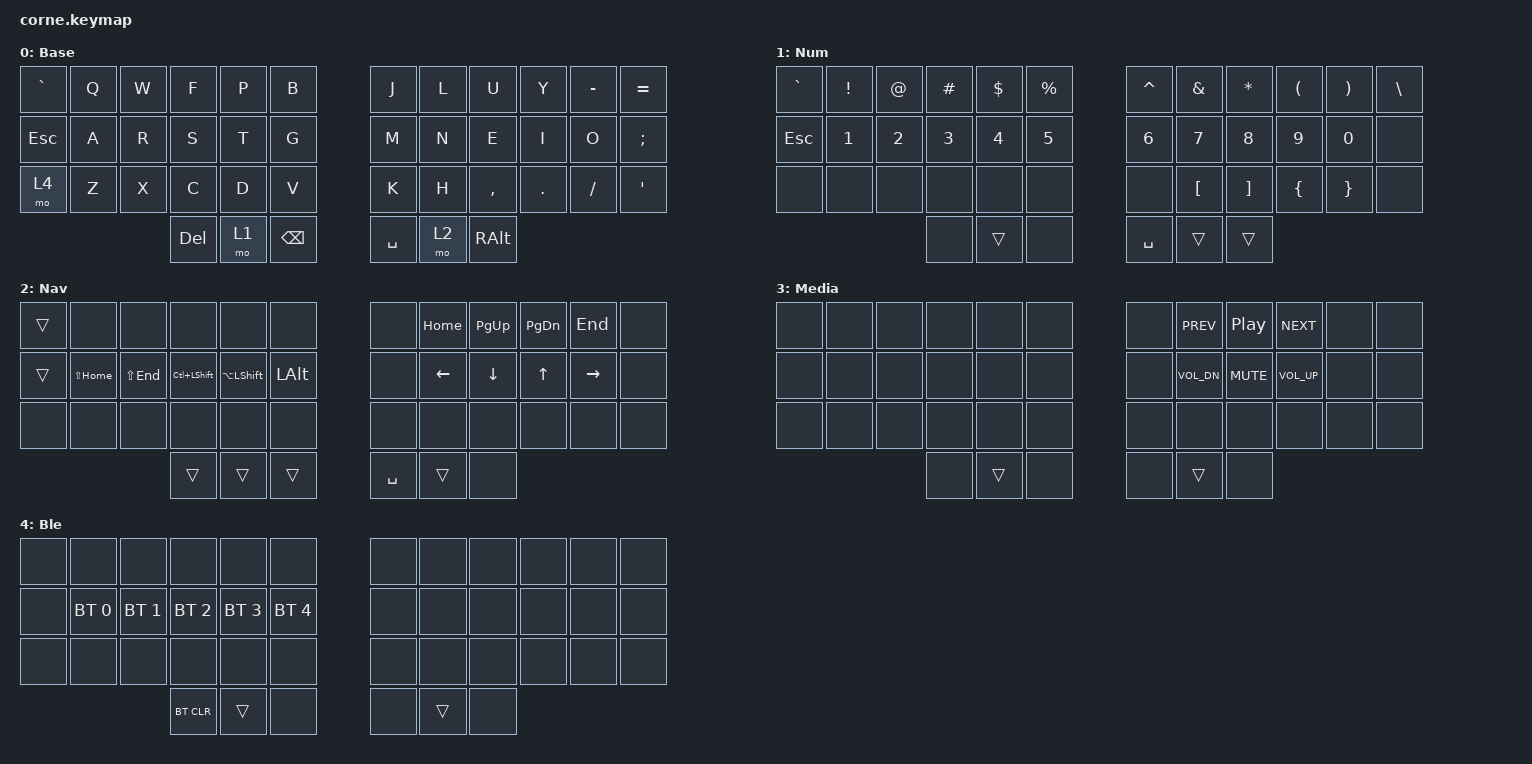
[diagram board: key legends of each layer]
/*
 * Copyright (c) 2020 The ZMK Contributors
 *
 * SPDX-License-Identifier: MIT
 */

#include <behaviors.dtsi>
#include <dt-bindings/zmk/keys.h>
#include <dt-bindings/zmk/bt.h>
#include <dt-bindings/zmk/mouse.h>

&mt {
     flavor = "tap-preferred";
     tapping-term-ms = <200>;
};

/ {
    conditional_layers {
        compatible = "zmk,conditional-layers";

        media_layer {
            if-layers = <1 2>;
            then-layer = <3>;
        };
    };

    // COMBO CONFIGS
    combos {
        compatible = "zmk,combos";

        combo_lgui {
            timeout-ms = <40>;
            key-positions = <13 14>;
            bindings = <&kp LGUI>;
        };

        combo_lctrl {
            timeout-ms = <40>;
            key-positions = <14 15>;
            bindings = <&kp LCTRL>;
        };

        combo_lshft {
            timeout-ms = <45>;
            key-positions = <15 16>;
            bindings = <&kp LSHFT>;
        };

        combo_ltab {
            timeout-ms = <50>;
            key-positions = <14 15 16>;
            bindings = <&kp TAB>;
        };

        combo_rshft {
            timeout-ms = <40>;
            key-positions = <19 20>;
            bindings = <&kp RSHFT>;
        };

        combo_rctrl {
            timeout-ms = <40>;
            key-positions = <20 21>;
            bindings = <&kp RCTRL>;
        };

        combo_rgui {
            timeout-ms = <40>;
            key-positions = <21 22>;
            bindings = <&kp RGUI>;
        };

        combo_renter {
            timeout-ms = <50>;
            key-positions = <19 20 21>;
            bindings = <&kp ENTER>;
        };
    };

    keymap {
        compatible = "zmk,keymap";

        default_layer {
            display-name = "Base";
            bindings = <
&kp GRAVE  &kp Q  &kp W  &kp F    &kp P  &kp B       &kp J      &kp L  &kp U      &kp Y    &kp MINUS  &kp EQUAL
&kp ESC    &kp A  &kp R  &kp S    &kp T  &kp G       &kp M      &kp N  &kp E      &kp I    &kp O      &kp SEMI
&mo 4      &kp Z  &kp X  &kp C    &kp D  &kp V       &kp K      &kp H  &kp COMMA  &kp DOT  &kp FSLH   &kp SQT
                         &kp DEL  &mo 1  &kp BSPC    &kp SPACE  &mo 2  &kp RALT
            >;
        };

        num_layer {
            display-name = "Num";
            bindings = <
&kp GRAVE  &kp EXCL  &kp AT  &kp HASH  &kp DLLR  &kp PRCNT    &kp CARET  &kp AMPS  &kp ASTRK  &kp LPAR  &kp RPAR  &kp BSLH
&kp ESC    &kp N1    &kp N2  &kp N3    &kp N4    &kp N5       &kp N6     &kp N7    &kp N8     &kp N9    &kp N0    &none
&none      &none     &none   &none     &none     &none        &none      &kp LBKT  &kp RBKT   &kp LBRC  &kp RBRC  &none
                             &none     &trans    &none        &kp SPACE  &trans    &trans
            >;
        };

        nav_layer {
            display-name = "Nav";
            bindings = <
&trans  &none         &none        &none          &none          &none           &none      &kp HOME  &kp PG_UP  &kp PG_DN  &kp END    &none
&trans  &kp LS(HOME)  &kp LS(END)  &kp LC(LSHFT)  &kp LA(LSHFT)  &kp LEFT_ALT    &none      &kp LEFT  &kp DOWN   &kp UP     &kp RIGHT  &none
&none   &none         &none        &none          &none          &none           &none      &none     &none      &none      &none      &none
                                   &trans         &trans         &trans          &kp SPACE  &trans    &none
            >;
        };

        media_layer {
            display-name = "Media";
            bindings = <
&none  &none  &none  &none  &none   &none    &none  &kp C_PREV    &kp C_PP    &kp C_NEXT    &none  &none
&none  &none  &none  &none  &none   &none    &none  &kp C_VOL_DN  &kp C_MUTE  &kp C_VOL_UP  &none  &none
&none  &none  &none  &none  &none   &none    &none  &none         &none       &none         &none  &none
                     &none  &trans  &none    &none  &trans        &none
            >;
        };

        bluetooth_layer {
            display-name = "Ble";
            bindings = <
&none  &none         &none         &none         &none         &none           &none  &none   &none  &none  &none  &none
&none  &bt BT_SEL 0  &bt BT_SEL 1  &bt BT_SEL 2  &bt BT_SEL 3  &bt BT_SEL 4    &none  &none   &none  &none  &none  &none
&none  &none         &none         &none         &none         &none           &none  &none   &none  &none  &none  &none
                                   &bt BT_CLR    &trans        &none           &none  &trans  &none
            >;
        };
    };
};
